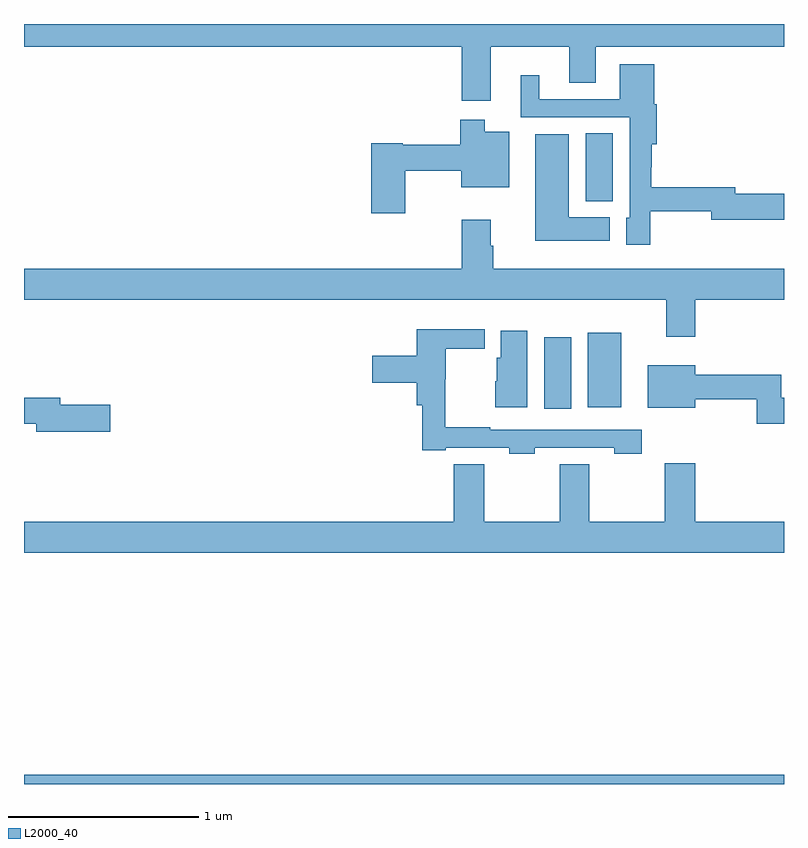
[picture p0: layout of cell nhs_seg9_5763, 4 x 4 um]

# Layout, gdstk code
import gdstk
lib = gdstk.Library(unit=1e-6, precision=1e-09)
def R(c, l, rs):  # rectangles x0, y0, x1, y1
    for r in rs: c.add(gdstk.rectangle(r[:2], r[2:], *l))
def P(c, l, *ps):  # polygons
    for p in ps: c.add(gdstk.Polygon(p, *l))
L2000_40 = (2000, 40)

nhs_seg9_5763 = lib.new_cell('nhs_seg9_5763')
R(nhs_seg9_5763, L2000_40, [(445,1232.5,449,1232.548), (447.737,1234.476,447.88,1234.852), (447.968,1234.484,448.144,1234.876), (447.956,1235.567,448.099,1235.924)])
P(nhs_seg9_5763, L2000_40, [(447.457,1236.38),(447.869,1236.38),(447.869,1236.19),(448.009,1236.19),(448.009,1236.38),(449,1236.38),(449,1236.5),(445,1236.5),(445,1236.38),(447.305,1236.38),(447.305,1236.096),(447.457,1236.096)],
  [(448.297,1235.514),(448.616,1235.514),(448.616,1235.471),(449,1235.471),(449,1235.606),(448.744,1235.606),(448.744,1235.642),(448.3,1235.642),(448.3,1235.745),(448.304,1235.745),(448.304,1235.867),(448.331,1235.867),(448.331,1236.078),(448.318,1236.078),(448.318,1236.289),(448.136,1236.289),(448.136,1236.105),(447.712,1236.105),(447.712,1236.229),(447.614,1236.229),(447.614,1236.009),(448.188,1236.009),(448.188,1235.481),(448.169,1235.481),(448.169,1235.337),(448.297,1235.337)],
  [(447.006,1235.728),(447.302,1235.728),(447.302,1235.642),(447.553,1235.642),(447.553,1235.932),(447.424,1235.932),(447.424,1235.995),(447.295,1235.995),(447.295,1235.864),(446.994,1235.864),(446.994,1235.872),(446.828,1235.872),(446.828,1235.505),(447.006,1235.505)],
  [(448.084,1235.482),(447.868,1235.482),(447.868,1235.92),(447.692,1235.92),(447.692,1235.36),(448.084,1235.36)],
  [(448.532,1235.048),(449,1235.048),(449,1235.212),(447.47,1235.212),(447.47,1235.333),(447.457,1235.333),(447.457,1235.47),(447.305,1235.47),(447.305,1235.212),(445,1235.212),(445,1235.048),(448.379,1235.048),(448.379,1234.854),(448.532,1234.854)],
  [(447.687,1234.269),(448.107,1234.269),(448.107,1234.237),(448.252,1234.237),(448.252,1234.365),(447.455,1234.365),(447.455,1234.378),(447.218,1234.378),(447.218,1234.629),(447.22,1234.629),(447.22,1234.792),(447.424,1234.792),(447.424,1234.894),(447.068,1234.894),(447.068,1234.755),(446.832,1234.755),(446.832,1234.613),(447.068,1234.613),(447.068,1234.493),(447.097,1234.493),(447.097,1234.257),(447.22,1234.257),(447.22,1234.269),(447.555,1234.269),(447.555,1234.237),(447.687,1234.237)],
  [(447.649,1234.885),(447.509,1234.885),(447.509,1234.743),(447.488,1234.743),(447.488,1234.62),(447.479,1234.62),(447.479,1234.484),(447.649,1234.484)],
  [(449,1234.532),(448.985,1234.532),(448.985,1234.654),(448.534,1234.654),(448.534,1234.705),(448.283,1234.705),(448.283,1234.481),(448.534,1234.481),(448.534,1234.525),(448.857,1234.525),(448.857,1234.396),(449,1234.396)],
  [(445.453,1234.496),(445.192,1234.496),(445.192,1234.532),(445,1234.532),(445,1234.396),(445.064,1234.396),(445.064,1234.354),(445.453,1234.354)],
  [(449,1233.88),(448.532,1233.88),(448.532,1234.189),(448.372,1234.189),(448.372,1233.88),(447.974,1233.88),(447.974,1234.184),(447.82,1234.184),(447.82,1233.88),(447.422,1233.88),(447.422,1234.184),(447.263,1234.184),(447.263,1233.88),(445,1233.88),(445,1233.716),(449,1233.716)])

lib.write_gds('nhs_seg9_5763.gds')
